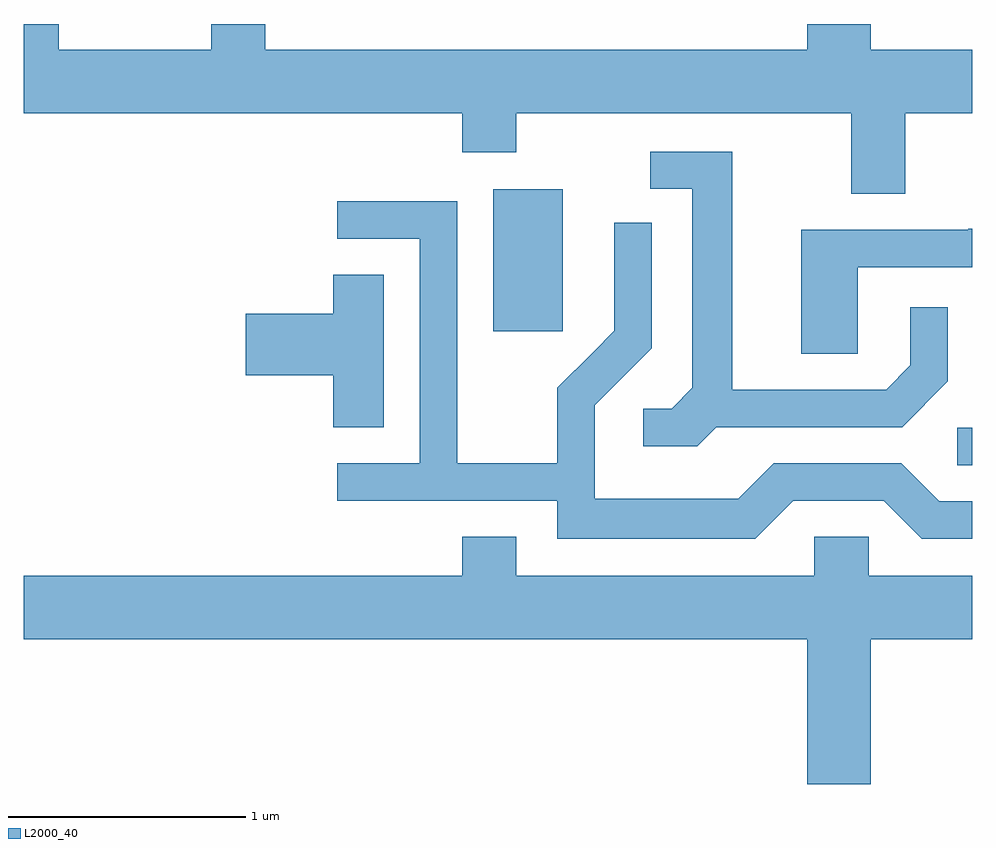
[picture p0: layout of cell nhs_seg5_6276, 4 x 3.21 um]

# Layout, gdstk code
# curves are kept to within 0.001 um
import gdstk
lib = gdstk.Library(unit=1e-6, precision=1e-09)
def R(c, l, rs):  # rectangles x0, y0, x1, y1
    for r in rs: c.add(gdstk.rectangle(r[:2], r[2:], *l))
def P(c, l, *ps):  # polygons
    for p in ps: c.add(gdstk.Polygon(p, *l))
L2000_40 = (2000, 40)

nhs_seg5_6276 = lib.new_cell('nhs_seg5_6276')
R(nhs_seg5_6276, L2000_40, [(375.548,1444.211,375.611,1444.369), (373.591,1444.776,373.884,1445.374)])
P(nhs_seg5_6276, L2000_40, [(375.329,1445.696),(375.611,1445.696),(375.611,1445.964),(375.184,1445.964),(375.184,1446.072),(374.916,1446.072),(374.916,1445.964),(372.629,1445.964),(372.629,1446.072),(372.401,1446.072),(372.401,1445.964),(371.759,1445.964),(371.759,1446.072),(371.611,1446.072),(371.611,1445.696),(373.461,1445.696),(373.461,1445.531),(373.689,1445.531),(373.689,1445.696),(375.101,1445.696),(375.101,1445.356),(375.329,1445.356)],
  [(374.532,1444.371),(375.317,1444.371),(375.509,1444.564),(375.509,1444.878),(375.351,1444.878),(375.351,1444.632),(375.249,1444.529),(374.599,1444.529),(374.599,1445.534),(374.253,1445.534),(374.253,1445.376),(374.431,1445.376),(374.431,1444.537),(374.344,1444.449),(374.223,1444.449),(374.223,1444.291),(374.452,1444.291)],
  [(374.857,1444.061),(375.239,1444.061),(375.399,1443.901),(375.611,1443.901),(375.611,1444.059),(375.472,1444.059),(375.312,1444.219),(374.774,1444.219),(374.624,1444.069),(374.019,1444.069),(374.019,1444.464),(374.259,1444.704),(374.259,1445.233),(374.101,1445.233),(374.101,1444.777),(373.861,1444.537),(373.861,1444.219),(373.439,1444.219),(373.439,1445.324),(372.933,1445.324),(372.933,1445.166),(373.281,1445.166),(373.281,1444.219),(372.933,1444.219),(372.933,1444.061),(373.861,1444.061),(373.861,1443.901),(374.697,1443.901)],
  [(375.129,1445.046),(375.611,1445.046),(375.611,1445.209),(375.595,1445.209),(375.595,1445.204),(374.891,1445.204),(374.891,1444.681),(375.129,1444.681)],
  [(373.129,1445.014),(372.916,1445.014),(372.916,1444.849),(372.546,1444.849),(372.546,1444.591),(372.916,1444.591),(372.916,1444.371),(373.129,1444.371)],
  [(375.184,1443.476),(375.611,1443.476),(375.611,1443.744),(375.174,1443.744),(375.174,1443.909),(374.946,1443.909),(374.946,1443.744),(373.689,1443.744),(373.689,1443.909),(373.461,1443.909),(373.461,1443.744),(371.611,1443.744),(371.611,1443.476),(374.916,1443.476),(374.916,1442.866),(375.184,1442.866)])

lib.write_gds('nhs_seg5_6276.gds')
